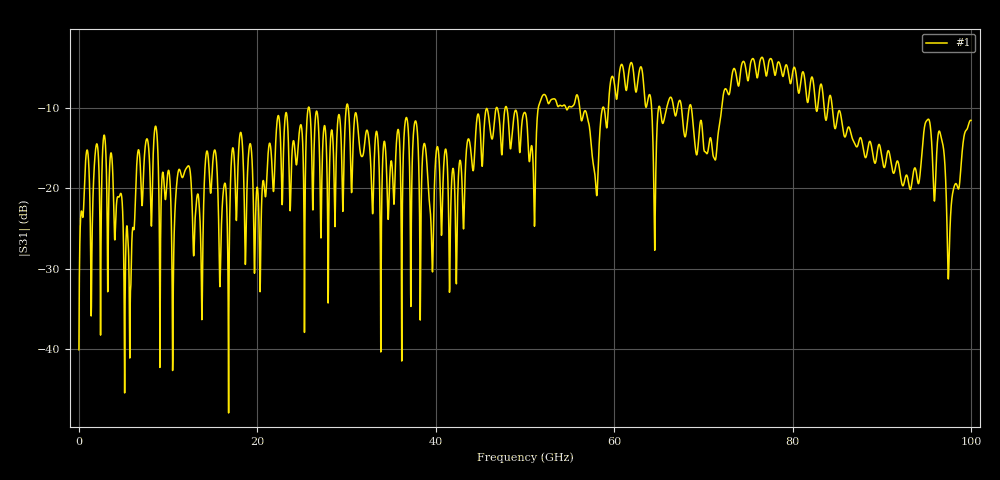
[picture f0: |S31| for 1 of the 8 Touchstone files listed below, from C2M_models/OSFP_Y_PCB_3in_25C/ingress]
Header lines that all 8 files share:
# GHz S RI R 45
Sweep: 25 MHz to 100 GHz
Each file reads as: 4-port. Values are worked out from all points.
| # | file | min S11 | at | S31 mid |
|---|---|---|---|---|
| 1 | C2M_Y_OSFP224_3in_host_PCB_25C_FEXT_TP4a_Rx1_to_TP5_Rx8.s4p | -58.2 dB | 6.05 GHz | -10.6 dB at 50.02 GHz |
| 2 | C2M_Y_OSFP224_3in_host_PCB_25C_FEXT_TP4a_Rx2_to_TP5_Rx8.s4p | -58.2 dB | 6.05 GHz | -10.6 dB at 50.02 GHz |
| 3 | C2M_Y_OSFP224_3in_host_PCB_25C_FEXT_TP4a_Rx3_to_TP5_Rx8.s4p | -58.2 dB | 6.05 GHz | -10.6 dB at 50.02 GHz |
| 4 | C2M_Y_OSFP224_3in_host_PCB_25C_FEXT_TP4a_Rx4_to_TP5_Rx8.s4p | -58.2 dB | 6.05 GHz | -10.6 dB at 50.02 GHz |
| 5 | C2M_Y_OSFP224_3in_host_PCB_25C_FEXT_TP4a_Rx5_to_TP5_Rx8.s4p | -58.2 dB | 6.05 GHz | -10.6 dB at 50.02 GHz |
| 6 | C2M_Y_OSFP224_3in_host_PCB_25C_FEXT_TP4a_Rx6_to_TP5_Rx8.s4p | -58.2 dB | 6.05 GHz | -10.6 dB at 50.02 GHz |
| 7 | C2M_Y_OSFP224_3in_host_PCB_25C_FEXT_TP4a_Rx7_to_TP5_Rx8.s4p | -58.2 dB | 6.05 GHz | -10.6 dB at 50.02 GHz |
| 8 | C2M_Y_OSFP224_3in_host_PCB_25C_NEXT_TP5_Tx2_to_TP5_Rx8.s4p | -58.2 dB | 6.05 GHz | -10.6 dB at 50.02 GHz |
